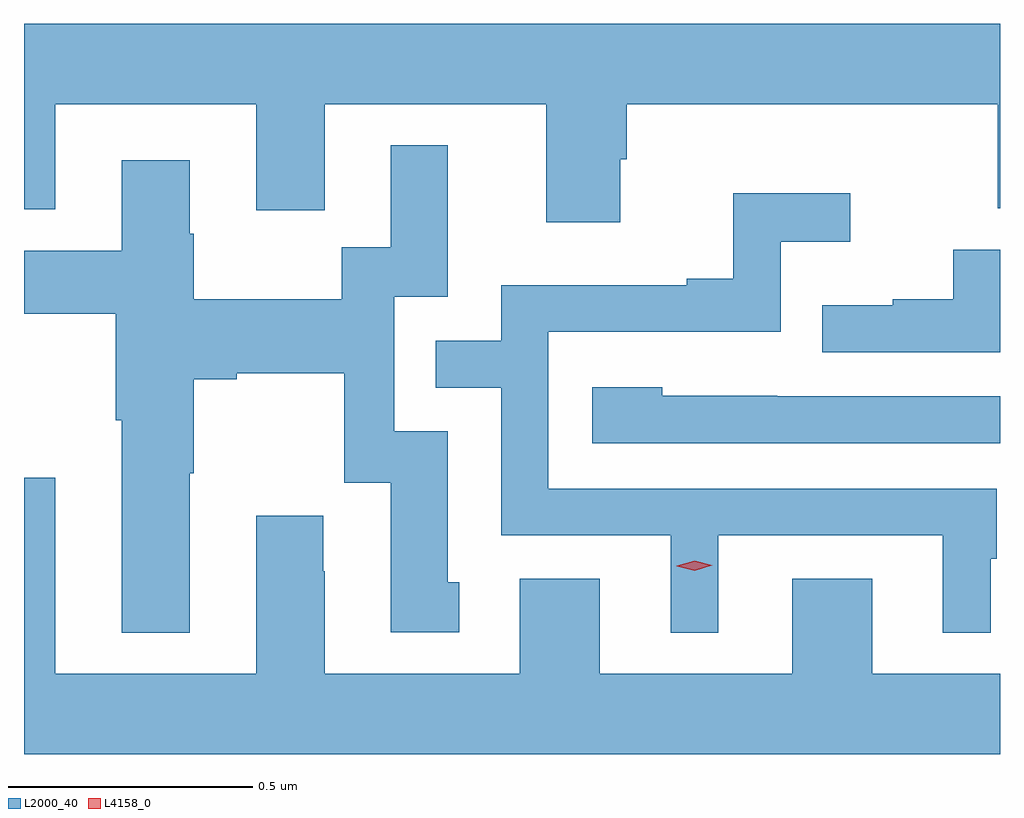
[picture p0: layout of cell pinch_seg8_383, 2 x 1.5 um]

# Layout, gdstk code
import gdstk
lib = gdstk.Library(unit=1e-6, precision=1e-09)
def P(c, l, *ps):  # polygons
    for p in ps: c.add(gdstk.Polygon(p, *l))
L2000_40 = (2000, 40)
L4158_0 = (4158, 0)

pinch_seg8_383 = lib.new_cell('pinch_seg8_383')
P(pinch_seg8_383, L2000_40, [(447.061,1112.391),(447.074,1112.391),(447.074,1112.504),(447.834,1112.504),(447.834,1112.29),(447.839,1112.29),(447.839,1112.668),(445.839,1112.668),(445.839,1112.288),(445.903,1112.288),(445.903,1112.504),(446.315,1112.504),(446.315,1112.286),(446.455,1112.286),(446.455,1112.504),(446.909,1112.504),(446.909,1112.262),(447.061,1112.262)],
  [(446.179,1111.747),(446.187,1111.747),(446.187,1111.94),(446.275,1111.94),(446.275,1111.952),(446.495,1111.952),(446.495,1111.728),(446.591,1111.728),(446.591,1111.422),(446.731,1111.422),(446.731,1111.524),(446.707,1111.524),(446.707,1111.833),(446.598,1111.833),(446.598,1112.109),(446.707,1112.109),(446.707,1112.419),(446.591,1112.419),(446.591,1112.21),(446.49,1112.21),(446.49,1112.104),(446.187,1112.104),(446.187,1112.238),(446.179,1112.238),(446.179,1112.389),(446.039,1112.389),(446.039,1112.203),(445.839,1112.203),(445.839,1112.074),(446.027,1112.074),(446.027,1111.856),(446.039,1111.856),(446.039,1111.421),(446.179,1111.421)],
  [(447.262,1111.62),(447.722,1111.62),(447.722,1111.421),(447.82,1111.421),(447.82,1111.572),(447.832,1111.572),(447.832,1111.716),(446.913,1111.716),(446.913,1112.037),(447.39,1112.037),(447.39,1112.222),(447.532,1112.222),(447.532,1112.321),(447.292,1112.321),(447.292,1112.146),(447.197,1112.146),(447.197,1112.133),(446.817,1112.133),(446.817,1112.019),(446.683,1112.019),(446.683,1111.923),(446.817,1111.923),(446.817,1111.62),(447.164,1111.62),(447.164,1111.421),(447.262,1111.421)],
  [(447.839,1112.205),(447.743,1112.205),(447.743,1112.104),(447.619,1112.104),(447.619,1112.092),(447.475,1112.092),(447.475,1111.995),(447.839,1111.995)],
  [(447.839,1111.905),(447.383,1111.905),(447.383,1111.906),(447.147,1111.906),(447.147,1111.924),(447.003,1111.924),(447.003,1111.809),(447.839,1111.809)],
  [(447.839,1111.336),(447.577,1111.336),(447.577,1111.531),(447.413,1111.531),(447.413,1111.336),(447.019,1111.336),(447.019,1111.531),(446.855,1111.531),(446.855,1111.336),(446.455,1111.336),(446.455,1111.547),(446.452,1111.547),(446.452,1111.66),(446.315,1111.66),(446.315,1111.336),(445.903,1111.336),(445.903,1111.738),(445.839,1111.738),(445.839,1111.172),(447.839,1111.172)])
P(pinch_seg8_383, L4158_0, [(447.213,1111.548),(447.177,1111.557),(447.177,1111.557),(447.177,1111.558),(447.213,1111.568),(447.249,1111.559),(447.249,1111.559),(447.249,1111.559)])

lib.write_gds('pinch_seg8_383.gds')
